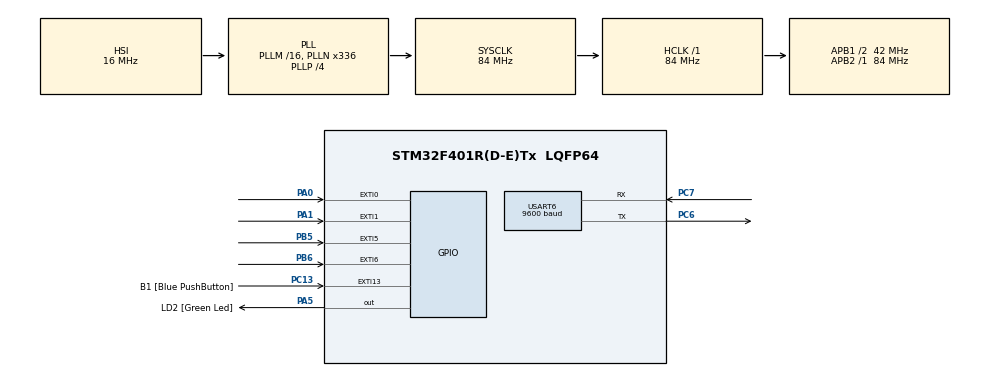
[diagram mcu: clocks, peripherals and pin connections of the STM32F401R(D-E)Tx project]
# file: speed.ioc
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Mcu.Family=STM32F4
Mcu.Name=STM32F401R(D-E)Tx
Mcu.Package=LQFP64
NVIC.PriorityGroup=NVIC_PRIORITYGROUP_4
PA0-WKUP.Signal=GPXTI0
PA1.Signal=GPXTI1
PA13.GPIO_Label=TMS
PA13.Mode=Trace_Asynchronous_SW
PA13.Signal=SYS_JTMS-SWDIO
PA14.GPIO_Label=TCK
PA14.Mode=Trace_Asynchronous_SW
PA14.Signal=SYS_JTCK-SWCLK
PA2.GPIO_Label=USART_TX
PA2.GPIO_Mode=GPIO_MODE_AF_PP
PA2.GPIO_PuPd=GPIO_NOPULL
PA2.GPIO_Speed=GPIO_SPEED_FREQ_LOW
PA2.Signal=USART2_TX
PA3.GPIO_Label=USART_RX
PA3.GPIO_Mode=GPIO_MODE_AF_PP
PA3.GPIO_PuPd=GPIO_NOPULL
PA3.GPIO_Speed=GPIO_SPEED_FREQ_LOW
PA3.Signal=USART2_RX
PA5.GPIO_Label=LD2 [Green Led]
PA5.GPIO_Mode=GPIO_MODE_OUTPUT_PP
PA5.GPIO_PuPd=GPIO_NOPULL
PA5.GPIO_Speed=GPIO_SPEED_FREQ_LOW
PA5.Signal=GPIO_Output
PB3.GPIO_Label=SWO
PB3.Mode=Trace_Asynchronous_SW
PB3.Signal=SYS_JTDO-SWO
PB5.Signal=GPXTI5
PB6.Signal=GPXTI6
PB8.Signal=I2C1_SCL
PB9.Signal=I2C1_SDA
PC13-ANTI_TAMP.GPIO_Label=B1 [Blue PushButton]
PC13-ANTI_TAMP.GPIO_ModeDefaultEXTI=GPIO_MODE_IT_FALLING
PC13-ANTI_TAMP.GPIO_PuPd=GPIO_NOPULL
PC13-ANTI_TAMP.Signal=GPXTI13
PC14-OSC32_IN.Mode=LSE-External-Oscillator
PC14-OSC32_IN.Signal=RCC_OSC32_IN
PC15-OSC32_OUT.Mode=LSE-External-Oscillator
PC15-OSC32_OUT.Signal=RCC_OSC32_OUT
PC6.Mode=Asynchronous
PC6.Signal=USART6_TX
PC7.Mode=Asynchronous
PC7.Signal=USART6_RX
PH0\ -\ OSC_IN.Mode=HSE-External-Clock-Source
PH0\ -\ OSC_IN.Signal=RCC_OSC_IN
PH1\ -\ OSC_OUT.Mode=HSE-External-Clock-Source
PH1\ -\ OSC_OUT.Signal=RCC_OSC_OUT
ProjectManager.HeapSize=0x200
ProjectManager.StackSize=0x400
ProjectManager.TargetToolchain=STM32CubeIDE
RCC.48MHZClocksFreq_Value=48000000
RCC.AHBFreq_Value=84000000
RCC.APB1CLKDivider=RCC_HCLK_DIV2
RCC.APB1Freq_Value=42000000
RCC.APB1TimFreq_Value=84000000
RCC.APB2Freq_Value=84000000
RCC.APB2TimFreq_Value=84000000
RCC.CortexFreq_Value=84000000
RCC.HCLKFreq_Value=84000000
RCC.HSE_VALUE=8000000
RCC.HSI_VALUE=16000000
RCC.PLLN=336
RCC.PLLP=RCC_PLLP_DIV4
RCC.PLLQ=7
RCC.SYSCLKFreq_VALUE=84000000
RCC.SYSCLKSource=RCC_SYSCLKSOURCE_PLLCLK
RCC.VCOOutputFreq_Value=336000000
USART6.BaudRate=9600
USART6.VirtualMode=VM_ASYNC
board=NUCLEO-F401RE

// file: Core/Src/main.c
/* USER CODE BEGIN Header */
/**
  ******************************************************************************
  * @file           : main.c
  * @brief          : Main program body
  ******************************************************************************
  * @attention
  *
  * Copyright (c) 2025 STMicroelectronics.
  * All rights reserved.
  *
  * This software is licensed under terms that can be found in the LICENSE file
  * in the root directory of this software component.
  * If no LICENSE file comes with this software, it is provided AS-IS.
  *
  ******************************************************************************
  */
/* USER CODE END Header */
#include "main.h"

/* USER CODE BEGIN Includes */
#include <stdio.h>
#include <string.h>
/* USER CODE END Includes */

/* USER CODE BEGIN PD */
#define A1_Pin GPIO_PIN_0
#define A1_Port GPIOA

#define A2_Pin GPIO_PIN_1
#define A2_Port GPIOA

#define B1_Pin GPIO_PIN_5
#define B1_Port GPIOB

#define B2_Pin GPIO_PIN_6
#define B2_Port GPIOB

// 거리 설정 (단위 : M)
#define SENSOR_DISTANCE_M 0.5f

// 한번에 감지할 수 있는 차량 수
#define MAX_CARS 10

// 센서 중복 감지
#define MIN_DETECTION_INTERVAL 3000  // 3초

// 유효한 픅정 시간
#define MAX_WAIT_TIME_MS 10000 // 10초

// r과속 기준 속도 정의 (단위 : km/h)
#define OVERSPEED_THRESHOLD_KMPH 1.0f
/* USER CODE END PD */

UART_HandleTypeDef huart6;

/* USER CODE BEGIN PV */

// 시간 저장용
uint32_t start_queue_A[MAX_CARS];
uint32_t start_queue_B[MAX_CARS];
int queue_head_A = 0, queue_tail_A = 0;
int queue_head_B = 0, queue_tail_B = 0;

/* USER CODE END PV */

void SystemClock_Config(void);
static void MX_GPIO_Init(void);
static void MX_USART6_UART_Init(void);
/* USER CODE BEGIN PFP */
void process_sensor_event(uint16_t event_pin, uint32_t* last_detection_time,
                          uint32_t* start_queue, int* queue_head, int* queue_tail,
                          const char* lane_prefix_char);

void check_queue_timeouts(void);

/* USER CODE END PFP */

int main(void)
{

  /* MCU Configuration--------------------------------------------------------*/

  /* Reset of all peripherals, Initializes the Flash interface and the Systick. */
  HAL_Init();

  /* Configure the system clock */
  SystemClock_Config();

  /* Initialize all configured peripherals */
  MX_GPIO_Init();
  MX_USART6_UART_Init();
  /* USER CODE BEGIN 2 */

  /* UART 안정화 대기 및 첫 송신 테스트 */
  HAL_Delay(100);  // UART 초기화 직후 안정화 시간
  // char start_msg[] = "Sensor status check started\r\n";
  // HAL_UART_Transmit(&huart6, (uint8_t*)start_msg, strlen(start_msg), HAL_MAX_DELAY);

  /* USER CODE END 2 */

  /* Infinite loop */
  /* USER CODE BEGIN WHILE */

  /* 전역 변수 */

  while (1)
  {
    /* USER CODE END WHILE */
	    check_queue_timeouts();
	    HAL_Delay(10); // 적절한 지연 시간
  }
}

void SystemClock_Config(void)
{
  RCC_OscInitTypeDef RCC_OscInitStruct = {0};
  RCC_ClkInitTypeDef RCC_ClkInitStruct = {0};

  /** Configure the main internal regulator output voltage
  */
  __HAL_RCC_PWR_CLK_ENABLE();
  __HAL_PWR_VOLTAGESCALING_CONFIG(PWR_REGULATOR_VOLTAGE_SCALE2);

  /** Initializes the RCC Oscillators according to the specified parameters
  * in the RCC_OscInitTypeDef structure.
  */
  RCC_OscInitStruct.OscillatorType = RCC_OSCILLATORTYPE_HSI;
  RCC_OscInitStruct.HSIState = RCC_HSI_ON;
  RCC_OscInitStruct.HSICalibrationValue = RCC_HSICALIBRATION_DEFAULT;
  RCC_OscInitStruct.PLL.PLLState = RCC_PLL_ON;
  RCC_OscInitStruct.PLL.PLLSource = RCC_PLLSOURCE_HSI;
  RCC_OscInitStruct.PLL.PLLM = 16;
  RCC_OscInitStruct.PLL.PLLN = 336;
  RCC_OscInitStruct.PLL.PLLP = RCC_PLLP_DIV4;
  RCC_OscInitStruct.PLL.PLLQ = 7;
  if (HAL_RCC_OscConfig(&RCC_OscInitStruct) != HAL_OK)
  {
    Error_Handler();
  }

  /** Initializes the CPU, AHB and APB buses clocks
  */
  RCC_ClkInitStruct.ClockType = RCC_CLOCKTYPE_HCLK|RCC_CLOCKTYPE_SYSCLK
                              |RCC_CLOCKTYPE_PCLK1|RCC_CLOCKTYPE_PCLK2;
  RCC_ClkInitStruct.SYSCLKSource = RCC_SYSCLKSOURCE_PLLCLK;
  RCC_ClkInitStruct.AHBCLKDivider = RCC_SYSCLK_DIV1;
  RCC_ClkInitStruct.APB1CLKDivider = RCC_HCLK_DIV2;
  RCC_ClkInitStruct.APB2CLKDivider = RCC_HCLK_DIV1;

  if (HAL_RCC_ClockConfig(&RCC_ClkInitStruct, FLASH_LATENCY_2) != HAL_OK)
  {
    Error_Handler();
  }
}

static void MX_USART6_UART_Init(void)
{

  huart6.Instance = USART6;
  huart6.Init.BaudRate = 9600;
  huart6.Init.WordLength = UART_WORDLENGTH_8B;
  huart6.Init.StopBits = UART_STOPBITS_1;
  huart6.Init.Parity = UART_PARITY_NONE;
  huart6.Init.Mode = UART_MODE_TX_RX;
  huart6.Init.HwFlowCtl = UART_HWCONTROL_NONE;
  huart6.Init.OverSampling = UART_OVERSAMPLING_16;
  if (HAL_UART_Init(&huart6) != HAL_OK)
  {
    Error_Handler();
  }

}

static void MX_GPIO_Init(void)
{
  GPIO_InitTypeDef GPIO_InitStruct = {0};

  /* GPIO Ports Clock Enable */
  __HAL_RCC_GPIOC_CLK_ENABLE();
  __HAL_RCC_GPIOH_CLK_ENABLE();
  __HAL_RCC_GPIOA_CLK_ENABLE();
  __HAL_RCC_GPIOB_CLK_ENABLE();

  /*Configure GPIO pin Output Level */
  HAL_GPIO_WritePin(LD2_GPIO_Port, LD2_Pin, GPIO_PIN_RESET);

  /*Configure GPIO pin : B1_Pin */
  GPIO_InitStruct.Pin = B1_Pin;
  GPIO_InitStruct.Mode = GPIO_MODE_IT_RISING;
  GPIO_InitStruct.Pull = GPIO_NOPULL;
  HAL_GPIO_Init(B1_GPIO_Port, &GPIO_InitStruct);

  /*Configure GPIO pins : PA0 PA1 */
  GPIO_InitStruct.Pin = GPIO_PIN_0|GPIO_PIN_1;
  GPIO_InitStruct.Mode = GPIO_MODE_IT_RISING;
  GPIO_InitStruct.Pull = GPIO_NOPULL;
  HAL_GPIO_Init(GPIOA, &GPIO_InitStruct);

  /*Configure GPIO pins : USART_TX_Pin USART_RX_Pin */
  GPIO_InitStruct.Pin = USART_TX_Pin|USART_RX_Pin;
  GPIO_InitStruct.Mode = GPIO_MODE_AF_PP;
  GPIO_InitStruct.Pull = GPIO_NOPULL;
  GPIO_InitStruct.Speed = GPIO_SPEED_FREQ_LOW;
  GPIO_InitStruct.Alternate = GPIO_AF7_USART2;
  HAL_GPIO_Init(GPIOA, &GPIO_InitStruct);

  /*Configure GPIO pin : LD2_Pin */
  GPIO_InitStruct.Pin = LD2_Pin;
  GPIO_InitStruct.Mode = GPIO_MODE_OUTPUT_PP;
  GPIO_InitStruct.Pull = GPIO_NOPULL;
  GPIO_InitStruct.Speed = GPIO_SPEED_FREQ_LOW;
  HAL_GPIO_Init(LD2_GPIO_Port, &GPIO_InitStruct);

  /*Configure GPIO pins : PB5 PB6 */
  GPIO_InitStruct.Pin = GPIO_PIN_5|GPIO_PIN_6;
  GPIO_InitStruct.Mode = GPIO_MODE_IT_RISING;
  GPIO_InitStruct.Pull = GPIO_NOPULL;
  HAL_GPIO_Init(GPIOB, &GPIO_InitStruct);

  /*Configure GPIO pins : PB8 PB9 */
  GPIO_InitStruct.Pin = GPIO_PIN_8|GPIO_PIN_9;
  GPIO_InitStruct.Mode = GPIO_MODE_AF_OD;
  GPIO_InitStruct.Pull = GPIO_NOPULL;
  GPIO_InitStruct.Speed = GPIO_SPEED_FREQ_VERY_HIGH;
  GPIO_InitStruct.Alternate = GPIO_AF4_I2C1;
  HAL_GPIO_Init(GPIOB, &GPIO_InitStruct);

  /* USER CODE BEGIN MX_GPIO_Init_2 */
  // A1: PA0 → EXTI0
  HAL_NVIC_SetPriority(EXTI0_IRQn, 2, 0);
  HAL_NVIC_EnableIRQ(EXTI0_IRQn);

  // A2: PA1 → EXTI1
  HAL_NVIC_SetPriority(EXTI1_IRQn, 2, 0);
  HAL_NVIC_EnableIRQ(EXTI1_IRQn);

  // B1/B2: PB5, PB6 → EXTI9_5
  HAL_NVIC_SetPriority(EXTI9_5_IRQn, 2, 0);
  HAL_NVIC_EnableIRQ(EXTI9_5_IRQn);
  /* USER CODE END MX_GPIO_Init_2 */
}

/* USER CODE BEGIN 4 */
// HAL_GPIO_EXTI_Callback 함수 수정
void HAL_GPIO_EXTI_Callback(uint16_t GPIO_Pin)
{
    // 각 핀별로 마지막 감지 시간 저장 (static 변수로 선언하여 함수 호출 간에 값 유지)
    // 이 static 변수들은 이제 process_sensor_event 함수로 직접 전달됩니다.
    static uint32_t last_detection_time_A1 = 0;
    static uint32_t last_detection_time_A2 = 0;
    static uint32_t last_detection_time_B1 = 0;
    static uint32_t last_detection_time_B2 = 0;

    if (GPIO_Pin == A1_Pin) {
        process_sensor_event(A1_Pin, &last_detection_time_A1, start_queue_A, &queue_head_A, &queue_tail_A, "[A");
    }
    else if (GPIO_Pin == A2_Pin) {
        process_sensor_event(A2_Pin, &last_detection_time_A2, start_queue_A, &queue_head_A, &queue_tail_A, "[A");
    }
    else if (GPIO_Pin == B1_Pin) {
        process_sensor_event(B1_Pin, &last_detection_time_B1, start_queue_B, &queue_head_B, &queue_tail_B, "[B");
    }
    else if (GPIO_Pin == B2_Pin) {
        process_sensor_event(B2_Pin, &last_detection_time_B2, start_queue_B, &queue_head_B, &queue_tail_B, "[B");
    }
}

void process_sensor_event(uint16_t event_pin, uint32_t* last_detection_time,
                          uint32_t* start_queue, int* queue_head, int* queue_tail,
                          const char* lane_prefix_char)
{
    uint32_t now = HAL_GetTick();
    char msg[100];
    memset(msg, 0, sizeof(msg));
    char lane_char = lane_prefix_char[1]; // "[A" -> 'A' 추출 (예: 'A' 또는 'B')

    // 1. 중복 감지 방지 로직 (수신된 메시지는 STM32 내부 디버깅용으로만 사용하거나 제거)
    if ((now - *last_detection_time) < MIN_DETECTION_INTERVAL) {
        // 주석 처리하여 라즈베리파이로 보내지 않음:
        // sprintf(msg, "[%c%d] 감지 무시됨 (간격: %lu ms)\r\n", lane_char, (event_pin == A1_Pin || event_pin == B1_Pin) ? 1 : 2, now - *last_detection_time);
        // HAL_UART_Transmit(&huart6, (uint8_t*)msg, strlen(msg), HAL_MAX_DELAY);
        return; // 해당 인터럽트 처리 종료
    }
    *last_detection_time = now; // 마지막 감지 시간 업데이트

    // 2. A1/B1 (진입 센서) 처리
    // 진입 센서 감지 시에는 아직 속도 측정이 완료되지 않았으므로, 라즈베리파이로 메시지를 보내지 않습니다.
    if (event_pin == A1_Pin || event_pin == B1_Pin) {
        int next_tail = (*queue_tail + 1) % MAX_CARS;
        if (next_tail != *queue_head) {
            start_queue[*queue_tail] = now;
            *queue_tail = next_tail;
            // 주석 처리하여 라즈베리파이로 보내지 않음:
            // sprintf(msg, "[%c1] 차량 감지 (시간: %lu ms)\r\n", lane_char, now);
            // HAL_UART_Transmit(&huart6, (uint8_t*)msg, strlen(msg), HAL_MAX_DELAY);
        } else {
            // 큐 오버플로우 메시지도 라즈베리파이로 보내지 않음:
            // sprintf(msg, "[%c1] 큐가 가득 찼습니다.\r\n", lane_char);
            // HAL_UART_Transmit(&huart6, (uint8_t*)msg, strlen(msg), HAL_MAX_DELAY);
        }
    }
    // 3. A2/B2 (종료 센서) 처리 - 이 시점에서 속도 계산 및 과속 판단 후 메시지 전송
    else if (event_pin == A2_Pin || event_pin == B2_Pin) {
        if (*queue_head != *queue_tail) { // 큐에 시작 시간이 있는 경우
            uint32_t start_time = start_queue[*queue_head];
            *queue_head = (*queue_head + 1) % MAX_CARS; // 큐에서 항목 제거

            uint32_t delta = (now >= start_time) ? (now - start_time) : 0; // 시간 차이 계산

            // 유효한 측정 시간 범위 내에서 속도 계산
            if (delta > 0 && delta < MAX_WAIT_TIME_MS) {
                float speed_mps = SENSOR_DISTANCE_M / ((float)delta / 1000.0f); // m/s
                float speed_kmph = speed_mps * 3.6f; // km/h

                // 4. 과속 여부 판단 및 라즈베리파이로 메시지 전송
                if (speed_kmph > OVERSPEED_THRESHOLD_KMPH) {
                    if (lane_char == 'A') {
                        sprintf(msg, "%.2f IN\r\n", speed_kmph); // A차선 과속: "속도 IN"
                    } else if (lane_char == 'B') {
                        sprintf(msg, "%.2f OUT\r\n", speed_kmph); // B차선 과속: "속도 OUT"
                    }
                    HAL_UART_Transmit(&huart6, (uint8_t*)msg, strlen(msg), HAL_MAX_DELAY);
                }
                // 과속이 아닌 경우 (speed_kmph <= OVERSPEED_THRESHOLD_KMPH) 메시지를 보내지 않습니다.
            } else {
                // 시간 정보 오류인 경우에도 라즈베리파이로 메시지를 보내지 않음:
                // sprintf(msg, "[%c2] 시간 정보 오류 또는 초과\r\n", lane_char);
                // HAL_UART_Transmit(&huart6, (uint8_t*)msg, strlen(msg), HAL_MAX_DELAY);
            }
        } else {
            // 큐에 데이터 없음 (A2/B2가 A1/B1 없이 감지된 경우)
            // 라즈베리파이로 메시지를 보내지 않음:
            // sprintf(msg, "[%c2] 큐에 데이터 없음\r\n", lane_char);
            // HAL_UART_Transmit(&huart6, (uint8_t*)msg, strlen(msg), HAL_MAX_DELAY);
        }
    }
}

void check_queue_timeouts(void) {
    char msg[100];
    uint32_t now = HAL_GetTick();

    // A 레인 타임아웃 처리
    if (queue_head_A != queue_tail_A) {
        uint32_t oldest_start_time_A = start_queue_A[queue_head_A];
        if ((now - oldest_start_time_A) > MAX_WAIT_TIME_MS) {
            //sprintf(msg, "[A] A2 타임아웃: 차량 무시됨 (대기: %lu ms)\r\n", now - oldest_start_time_A);
            // HAL_UART_Transmit(&huart6, (uint8_t*)msg, strlen(msg), HAL_MAX_DELAY);
            queue_head_A = (queue_head_A + 1) % MAX_CARS;
        }
    }

    // B 레인 타임아웃 처리
    if (queue_head_B != queue_tail_B) {
        uint32_t oldest_start_time_B = start_queue_B[queue_head_B];
        if ((now - oldest_start_time_B) > MAX_WAIT_TIME_MS) {
            // sprintf(msg, "[B] B2 타임아웃: 차량 무시됨 (대기: %lu ms)\r\n", now - oldest_start_time_B);
            // HAL_UART_Transmit(&huart6, (uint8_t*)msg, strlen(msg), HAL_MAX_DELAY);
            queue_head_B = (queue_head_B + 1) % MAX_CARS;
        }
    }
}
/* USER CODE END 4 */

void Error_Handler(void)
{
  __disable_irq();
  while (1)
  {
  }
}
